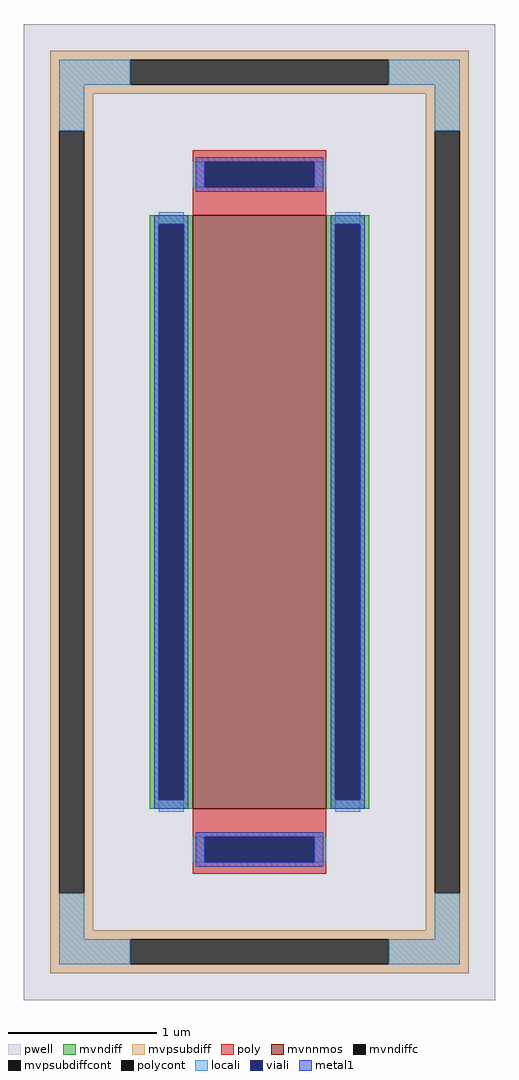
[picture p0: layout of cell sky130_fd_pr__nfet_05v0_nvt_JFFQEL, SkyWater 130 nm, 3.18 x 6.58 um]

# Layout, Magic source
magic
tech sky130A
<< pwell >>
rect -159 -329 159 329
<< mvnnmos >>
rect -45 -200 45 200
<< mvndiff >>
rect -74 194 -45 200
rect -74 -194 -68 194
rect -51 -194 -45 194
rect -74 -200 -45 -194
rect 45 194 74 200
rect 45 -194 51 194
rect 68 -194 74 194
rect 45 -200 74 -194
<< mvndiffc >>
rect -68 -194 -51 194
rect 51 -194 68 194
<< mvpsubdiff >>
rect -141 305 141 311
rect -141 288 -87 305
rect 87 288 141 305
rect -141 282 141 288
rect -141 257 -112 282
rect -141 -257 -135 257
rect -118 -257 -112 257
rect 112 257 141 282
rect -141 -282 -112 -257
rect 112 -257 118 257
rect 135 -257 141 257
rect 112 -282 141 -257
rect -141 -288 141 -282
rect -141 -305 -87 -288
rect 87 -305 141 -288
rect -141 -311 141 -305
<< mvpsubdiffcont >>
rect -87 288 87 305
rect -135 -257 -118 257
rect 118 -257 135 257
rect -87 -305 87 -288
<< poly >>
rect -45 236 45 244
rect -45 219 -37 236
rect 37 219 45 236
rect -45 200 45 219
rect -45 -219 45 -200
rect -45 -236 -37 -219
rect 37 -236 45 -219
rect -45 -244 45 -236
<< polycont >>
rect -37 219 37 236
rect -37 -236 37 -219
<< locali >>
rect -135 288 -87 305
rect 87 288 135 305
rect -135 257 -118 288
rect 118 257 135 288
rect -45 219 -37 236
rect 37 219 45 236
rect -68 194 -51 202
rect -68 -202 -51 -194
rect 51 194 68 202
rect 51 -202 68 -194
rect -45 -236 -37 -219
rect 37 -236 45 -219
rect -135 -288 -118 -257
rect 118 -288 135 -257
rect -135 -305 -87 -288
rect 87 -305 135 -288
<< viali >>
rect -37 219 37 236
rect -68 -194 -51 194
rect 51 -194 68 194
rect -37 -236 37 -219
<< metal1 >>
rect -43 236 43 239
rect -43 219 -37 236
rect 37 219 43 236
rect -43 216 43 219
rect -71 194 -48 200
rect -71 -194 -68 194
rect -51 -194 -48 194
rect -71 -200 -48 -194
rect 48 194 71 200
rect 48 -194 51 194
rect 68 -194 71 194
rect 48 -200 71 -194
rect -43 -219 43 -216
rect -43 -236 -37 -219
rect 37 -236 43 -219
rect -43 -239 43 -236
<< properties >>
string FIXED_BBOX -126 -296 126 296
string gencell sky130_fd_pr__nfet_05v0_nvt
string library sky130
string parameters w 4.0 l 0.9 m 1 nf 1 diffcov 100 polycov 100 guard 1 glc 1 grc 1 gtc 1 gbc 1 tbcov 100 rlcov 100 topc 1 botc 1 poverlap 0 doverlap 1 lmin 0.90 wmin 0.42 compatible {sky130_fd_pr__nfet_01v8 sky130_fd_pr__nfet_01v8_lvt  sky130_fd_bs_flash__special_sonosfet_star  sky130_fd_pr__nfet_g5v0d10v5 sky130_fd_pr__nfet_05v0_nvt  sky130_fd_pr__nfet_03v3_nvt} full_metal 1 viasrc 100 viadrn 100 viagate 100 viagb 0 viagr 0 viagl 0 viagt 0
<< end >>
